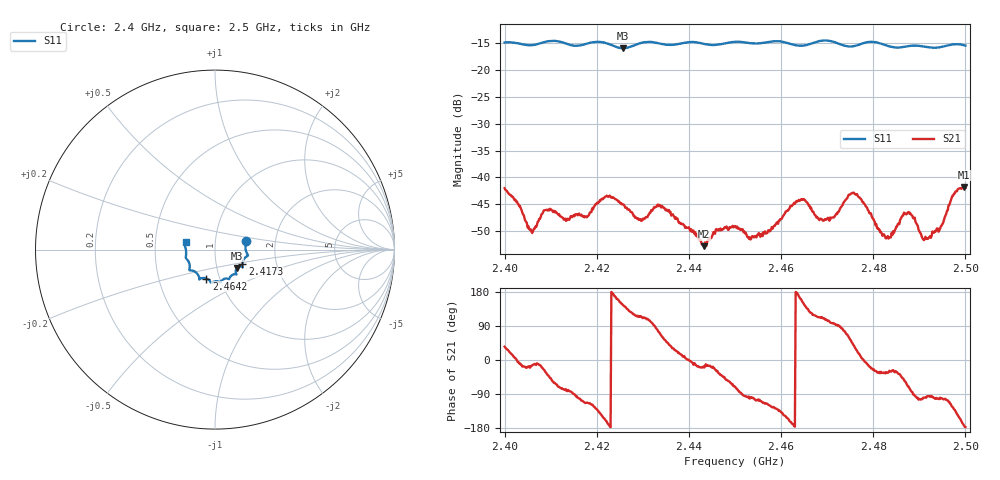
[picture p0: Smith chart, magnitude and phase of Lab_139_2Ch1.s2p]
# Hz S RI R 50
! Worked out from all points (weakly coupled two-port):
!   601 points, 2.4 GHz to 2.5 GHz, reference 50 ohm
!   highest |S21| = -41.79 dB at 2.4997 GHz (marker M1); lowest = -52.8 dB at 2.4433 GHz (marker M2)
!   lowest |S11| = -15.9 dB at 2.4257 GHz (marker M3), VSWR 1.38, Z = 62.4 - j13.1 ohm
!   |S11| at or under -10 dB: start of sweep to end of sweep
!   S12 and S22 are empty: the file has one direction only
!   S11 on the Smith chart (normalised r, x): 2.4 GHz: 1.41, +0.14; 2.4173 GHz: 1.34, -0.23; 2.4642 GHz: 0.86, -0.29; 2.5 GHz: 0.72, +0.06
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2.4e9  0.1732 0.0493  0.0065 0.00456  0 0  0 0
2.405833e9  0.17 0.00327  0.00301 -0.000861  0 0  0 0
2.409e9  0.1816 -0.028  0.00415 -0.00277  0 0  0 0
2.416667e9  0.1531 -0.0747  -0.00134 -0.0043  0 0  0 0
2.417333e9  0.1526 -0.0821  -0.00161 -0.00394  0 0  0 0
2.422333e9  0.1493 -0.0939  -0.00652 -0.00152  0 0  0 0
2.425667e9  0.1224 -0.1022  -0.00461 0.00321  0 0  0 0
2.429667e9  0.1176 -0.1347  -0.00162 0.00359  0 0  0 0
2.433333e9  0.1131 -0.137  0.00138 0.00542  0 0  0 0
2.443333e9  0.0675 -0.1611  0.00216 -0.000778  0 0  0 0
2.45e9  0.0295 -0.1809  0.00117 -0.00333  0 0  0 0
2.4565e9  -0.0104 -0.1801  -0.00135 -0.00285  0 0  0 0
2.464167e9  -0.0484 -0.161  -0.00584 0.00189  0 0  0 0
2.466667e9  -0.0762 -0.1596  -0.00272 0.00413  0 0  0 0
2.471e9  -0.087 -0.1632  -0.000537 0.00419  0 0  0 0
2.476e9  -0.1167 -0.1198  0.00587 0.00382  0 0  0 0
2.483333e9  -0.1408 -0.0893  0.00228 -0.00145  0 0  0 0
2.487167e9  -0.1564 -0.0554  0.00218 -0.00397  0 0  0 0
2.492167e9  -0.1607 -0.0236  -0.000288 -0.00277  0 0  0 0
2.4975e9  -0.1711 0.029  -0.00451 -0.00543  0 0  0 0
2.499667e9  -0.1656 0.04  -0.00806 -0.00112  0 0  0 0
2.5e9  -0.1637 0.0421  -0.00797 -0.000429  0 0  0 0
